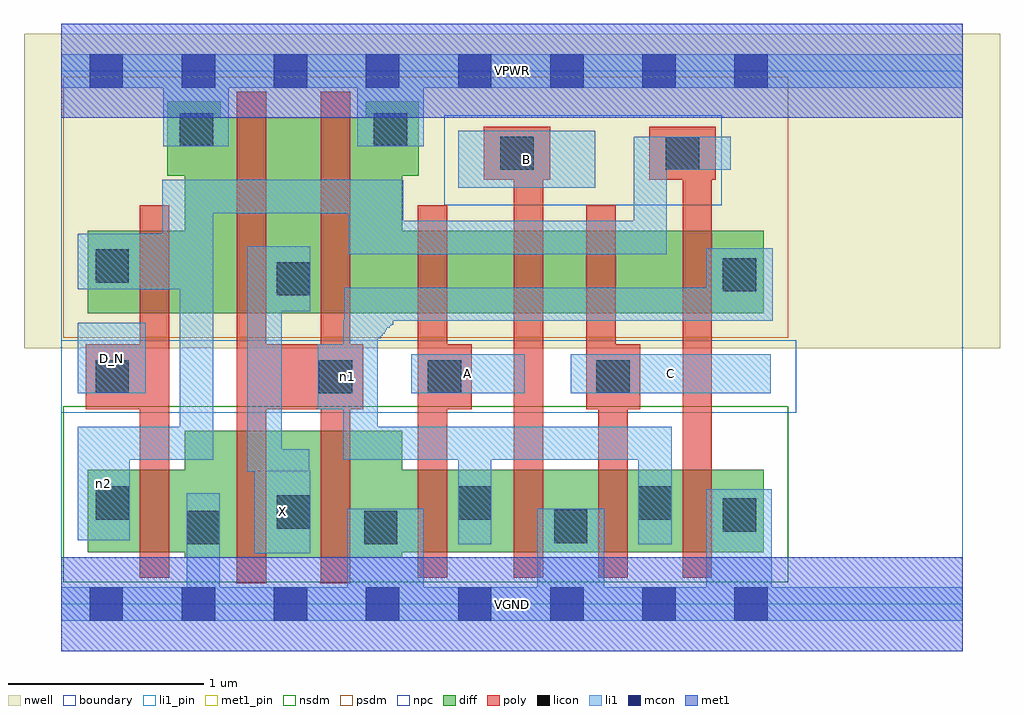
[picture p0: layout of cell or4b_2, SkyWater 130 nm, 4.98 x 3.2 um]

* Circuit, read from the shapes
.subckt or4b_2 A B C D_N VGND VPWR X n1 n2
XM1 VGND D_N n2 VSUBS sky130_fd_pr__nfet_01v8 w=0.42 l=0.15
XM2 X n1 VGND VSUBS sky130_fd_pr__nfet_01v8 w=0.65 l=0.15 m=2
XM3 n1 A VGND VSUBS sky130_fd_pr__nfet_01v8 w=0.42 l=0.15
XM4 VGND B n1 VSUBS sky130_fd_pr__nfet_01v8 w=0.42 l=0.15
XM5 n1 C VGND VSUBS sky130_fd_pr__nfet_01v8 w=0.42 l=0.15
XM6 VGND n2 n1 VSUBS sky130_fd_pr__nfet_01v8 w=0.42 l=0.15
XM7 VPWR D_N n2 n3 sky130_fd_pr__pfet_01v8 w=0.42 l=0.15
XM8 X n1 VPWR n3 sky130_fd_pr__pfet_01v8 w=1 l=0.15 m=2
XM9 n4 A VPWR n3 sky130_fd_pr__pfet_01v8 w=0.42 l=0.15
XM10 n5 B n4 n3 sky130_fd_pr__pfet_01v8 w=0.42 l=0.15
XM11 n6 C n5 n3 sky130_fd_pr__pfet_01v8 w=0.42 l=0.15
XM12 n1 n2 n6 n3 sky130_fd_pr__pfet_01v8 w=0.42 l=0.15
.ends

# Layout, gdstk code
import gdstk
lib = gdstk.Library(unit=1e-6, precision=1e-09)
def R(c, l, rs):  # rectangles x0, y0, x1, y1
    for r in rs: c.add(gdstk.rectangle(r[:2], r[2:], *l))
def A(c, l, x, y, w, h, nx, ny, dx, dy):  # array of equal rectangles
    R(c, l, [(x+i*dx, y+j*dy, x+i*dx+w, y+j*dy+h) for i in range(nx) for j in range(ny)])
nwell = (64, 20)
diff = (65, 20)
poly = (66, 20)
licon = (66, 44)
li1_pin = (67, 16)
li1 = (67, 20)
mcon = (67, 44)
met1_pin = (68, 16)
met1 = (68, 20)
nsdm = (93, 44)
psdm = (94, 20)
npc = (95, 20)
boundary = (235, 4)

or4b_2 = lib.new_cell('or4b_2')
R(or4b_2, nwell, [(-0.19,1.305,4.79,2.91), (0,1.305,4.6,2.91)])
R(or4b_2, diff, [(0.63,0.235,1.74,0.885), (0.135,0.265,3.585,0.685), (0.135,1.485,3.585,1.905), (0.63,1.485,1.74,2.485), (0.54,2.185,1.825,2.485), (0.54,2.185,0.815,2.565), (1.555,2.185,1.825,2.565)])
R(or4b_2, poly, [(0.895,0.105,1.045,2.615), (1.325,0.105,1.475,2.615), (0.4,0.135,0.55,2.035), (1.82,0.135,1.97,2.035), (2.31,0.135,2.46,2.435), (2.74,0.135,2.89,1.325), (3.17,0.135,3.32,2.435), (0.125,0.995,0.55,1.325), (0.895,0.995,1.54,1.325), (1.82,0.995,2.095,1.325), (2.68,0.995,2.955,1.325), (2.68,0.995,2.83,2.035), (2.155,2.165,2.495,2.435), (3,2.165,3.34,2.435)])
R(or4b_2, licon, [(0.64,0.305,0.81,0.475), (1.545,0.305,1.715,0.475), (2.515,0.31,2.685,0.48), (3.375,0.37,3.545,0.54), (1.1,0.385,1.27,0.555), (0.175,0.43,0.345,0.6), (2.025,0.43,2.195,0.6), (2.945,0.43,3.115,0.6), (0.175,1.075,0.345,1.245), (1.315,1.075,1.485,1.245), (1.87,1.075,2.04,1.245), (2.73,1.075,2.9,1.245), (1.1,1.575,1.27,1.745), (3.375,1.595,3.545,1.765), (0.175,1.64,0.345,1.81), (2.24,2.215,2.41,2.385), (3.085,2.215,3.255,2.385), (0.605,2.335,0.775,2.505), (1.595,2.335,1.765,2.505)])
R(or4b_2, li1_pin, [(0.985,0.26,1.27,0.68), (0.085,1.075,0.43,1.435), (1.785,1.075,2.365,1.275), (2.6,1.075,3.62,1.275), (2.025,2.125,2.725,2.415)])
R(or4b_2, li1, [(0,-0.085,4.6,0.085), (0.64,-0.085,0.81,0.565), (1.46,-0.085,1.85,0.485), (2.43,-0.085,2.77,0.485), (3.29,-0.085,3.625,0.585), (0.985,0.26,1.27,0.68), (2.025,0.305,2.195,0.905), (2.945,0.305,3.115,0.905), (0.085,0.325,0.35,0.905), (0.95,0.675,1.125,1.825), (0.95,0.675,1.265,0.79), (0.085,0.735,0.775,0.905), (0.605,0.735,0.775,2.165), (1.44,0.735,3.115,0.905), (1.44,0.735,1.615,1.45), (1.31,0.995,1.615,1.325), (0.085,1.075,0.43,1.435), (1.785,1.075,2.365,1.275), (2.6,1.075,3.62,1.275), (1.445,1.355,1.63,1.615), (1.445,1.37,1.64,1.615), (1.445,1.38,1.65,1.615), (1.445,1.39,1.655,1.615), (1.445,1.4,1.66,1.615), (1.445,1.41,1.675,1.615), (1.445,1.42,1.685,1.615), (1.445,1.425,1.695,1.615), (1.445,1.445,3.63,1.615), (3.29,1.445,3.63,1.815), (0.95,1.495,1.27,1.825), (0.085,1.605,0.775,1.89), (0.515,1.605,0.775,2.165), (1.465,1.785,3.09,1.955), (1.465,1.785,1.745,2.165), (2.92,1.785,3.09,2.385), (0.515,1.995,1.745,2.165), (2.025,2.125,2.725,2.415), (2.92,2.215,3.415,2.385), (0.52,2.335,0.855,2.805), (1.51,2.335,1.85,2.805), (0,2.635,4.6,2.805)])
A(or4b_2, mcon, 0.145, -0.085, 0.17, 0.17, 8, 2, 0.47, 2.72)
R(or4b_2, met1_pin, [(0,-0.24,4.6,0.24), (0,2.48,4.6,2.96)])
R(or4b_2, met1, [(0,-0.24,4.6,0.24), (0,2.48,4.6,2.96)])
R(or4b_2, nsdm, [(0.01,0.11,3.71,1.01)])
R(or4b_2, psdm, [(0.01,1.36,3.71,2.69)])
R(or4b_2, npc, [(0,0.975,3.75,1.345), (1.955,2.035,3.37,2.495)])
R(or4b_2, boundary, [(0,0,4.6,2.72)])
or4b_2.add(gdstk.Label('A', (2.075,1.175), layer=67, texttype=5))
or4b_2.add(gdstk.Label('B', (2.375,2.27), layer=67, texttype=5))
or4b_2.add(gdstk.Label('C', (3.11,1.175), layer=67, texttype=5))
or4b_2.add(gdstk.Label('D_N', (0.257,1.255), layer=67, texttype=5))
or4b_2.add(gdstk.Label('X', (1.127,0.47), layer=67, texttype=5))
or4b_2.add(gdstk.Label('n1', (1.462,1.16), layer=67, texttype=5))
or4b_2.add(gdstk.Label('n2', (0.217,0.615), layer=67, texttype=5))
or4b_2.add(gdstk.Label('VPWR', (2.3,2.72), layer=68, texttype=5))
or4b_2.add(gdstk.Label('VGND', (2.3,0), layer=68, texttype=5))
or4b_2.add(gdstk.Label('A', (2.075,1.175), layer=67, texttype=16))
or4b_2.add(gdstk.Label('B', (2.375,2.27), layer=67, texttype=16))
or4b_2.add(gdstk.Label('C', (3.11,1.175), layer=67, texttype=16))
or4b_2.add(gdstk.Label('D_N', (0.257,1.255), layer=67, texttype=16))
or4b_2.add(gdstk.Label('X', (1.127,0.47), layer=67, texttype=16))
or4b_2.add(gdstk.Label('VPWR', (2.3,2.72), layer=68, texttype=16))
or4b_2.add(gdstk.Label('VGND', (2.3,0), layer=68, texttype=16))

lib.write_gds('or4b_2.gds')
